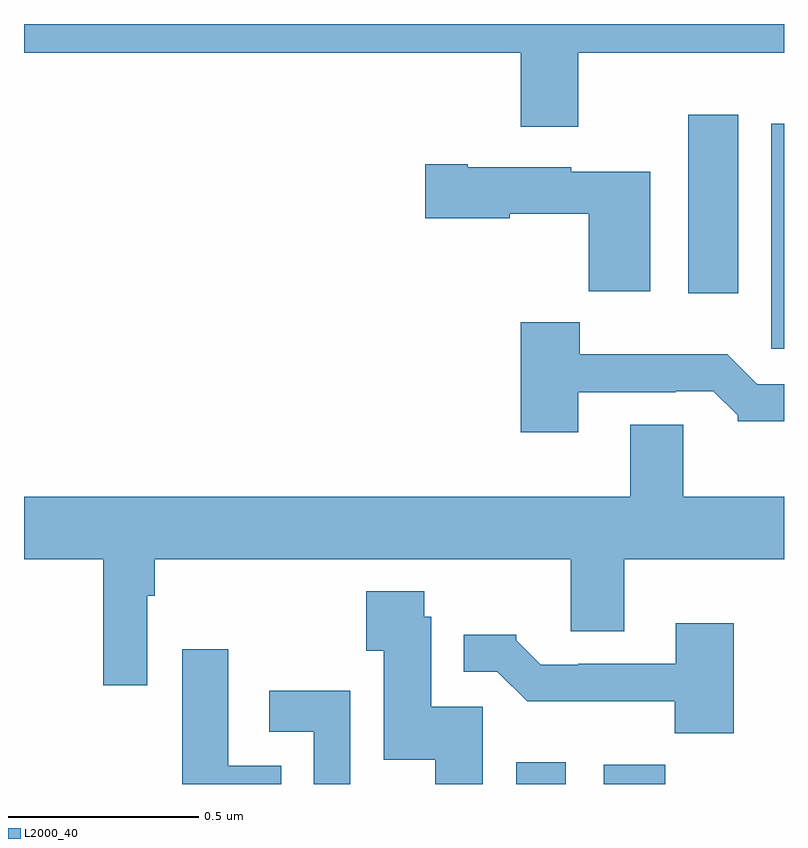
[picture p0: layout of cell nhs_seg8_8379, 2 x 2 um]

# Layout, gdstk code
import gdstk
lib = gdstk.Library(unit=1e-6, precision=1e-09)
def R(c, l, rs):  # rectangles x0, y0, x1, y1
    for r in rs: c.add(gdstk.rectangle(r[:2], r[2:], *l))
def P(c, l, *ps):  # polygons
    for p in ps: c.add(gdstk.Polygon(p, *l))
L2000_40 = (2000, 40)

nhs_seg8_8379 = lib.new_cell('nhs_seg8_8379')
R(nhs_seg8_8379, L2000_40, [(223.295,1123.9,223.426,1123.957), (223.526,1123.9,223.688,1123.951), (223.967,1125.045,224,1125.637), (223.748,1125.192,223.879,1125.661)])
P(nhs_seg8_8379, L2000_40, [(223.459,1125.824),(224,1125.824),(224,1125.9),(222,1125.9),(222,1125.824),(223.307,1125.824),(223.307,1125.63),(223.459,1125.63)],
  [(223.648,1125.511),(223.44,1125.511),(223.44,1125.523),(223.168,1125.523),(223.168,1125.531),(223.056,1125.531),(223.056,1125.389),(223.278,1125.389),(223.278,1125.401),(223.486,1125.401),(223.486,1125.197),(223.648,1125.197)],
  [(223.459,1124.931),(223.715,1124.931),(223.715,1124.934),(223.814,1124.934),(223.878,1124.87),(223.878,1124.855),(224,1124.855),(224,1124.952),(223.929,1124.952),(223.851,1125.031),(223.462,1125.031),(223.462,1125.115),(223.307,1125.115),(223.307,1124.826),(223.459,1124.826)],
  [(222.324,1124.396),(222.344,1124.396),(222.344,1124.492),(223.439,1124.492),(223.439,1124.302),(223.579,1124.302),(223.579,1124.492),(224,1124.492),(224,1124.656),(223.735,1124.656),(223.735,1124.846),(223.595,1124.846),(223.595,1124.656),(222,1124.656),(222,1124.492),(222.208,1124.492),(222.208,1124.16),(222.324,1124.16)],
  [(223.207,1124.103),(223.072,1124.103),(223.072,1124.34),(223.053,1124.34),(223.053,1124.407),(222.901,1124.407),(222.901,1124.251),(222.947,1124.251),(222.947,1123.964),(223.082,1123.964),(223.082,1123.9),(223.207,1123.9)],
  [(223.868,1124.323),(223.715,1124.323),(223.715,1124.217),(223.459,1124.217),(223.459,1124.214),(223.36,1124.214),(223.296,1124.278),(223.296,1124.293),(223.157,1124.293),(223.157,1124.196),(223.245,1124.196),(223.324,1124.118),(223.713,1124.118),(223.713,1124.033),(223.868,1124.033)],
  [(222.677,1123.948),(222.538,1123.948),(222.538,1124.254),(222.416,1124.254),(222.416,1123.9),(222.677,1123.9)],
  [(222.858,1124.146),(222.645,1124.146),(222.645,1124.037),(222.762,1124.037),(222.762,1123.9),(222.858,1123.9)])

lib.write_gds('nhs_seg8_8379.gds')
